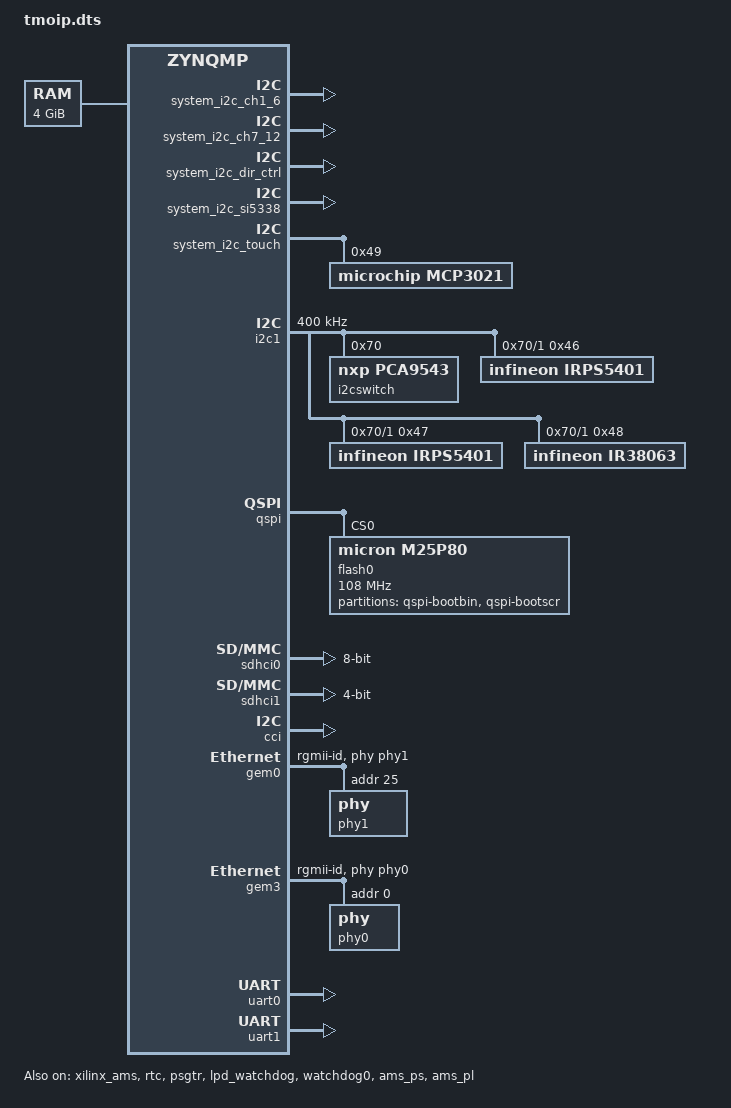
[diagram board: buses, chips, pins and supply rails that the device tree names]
/dts-v1/;
#include "zynqmp.dtsi"
#include "zynqmp-clk-ccf.dtsi"
#include <dt-bindings/net/ti-dp83867.h>
    
/* From include/dt-bindings/clk/versaclock.h */
#define VC5_LVPECL   0
#define VC5_CMOS  1
#define VC5_HCSL33   2
#define VC5_LVDS  3
#define VC5_CMOS2 4
#define VC5_CMOSD 5
#define VC5_HCSL25   6

#define PLATFORM_TYPE_8_CHAN_3EG 0
#define PLATFORM_TYPE_TMOIP_3CH 1
#define PLATFORM_TYPE_TMOIP_12CH 2
#define PLATFORM_TYPE_AVNET_CC7EV 3
#define PLATFORM_TYPE_XILINX_ZCU102 4
#define PLATFORM_TYPE_TMOIP_MLSC 5
#define PLATFORM_TYPE_TMOIP_BSSA 6

/ {
	chosen {
		bootargs = "console=/dev/ttyPS0,115200 root=/dev/mmcblk1p2 rw earlyprintk earlycon clk_ignore_unused";
		stdout-path = "serial0:115200n8";
	};
	aliases {
		ethernet0 = &gem3;
		ethernet1 = &gem0;
		serial0 = &uart0;
		serial1 = &uart1;
	};
	memory {
		device_type = "memory";
		reg = <0x0 0x0 0x0 0x7ff00000>, <0x00000008 0x00000000 0x0 0x80000000>;
	};

   	reserved-memory {
        #address-cells = <2>;
        #size-cells = <2>;
		ranges;
	    framebuffer_mem: framebuffer@10000000 {
           no-map;
		   reg = <0x0 0x10000000 0x0 (1024*1024)>;
	   };
   	};
	amba_pl: amba_pl@0 {
		#address-cells = <2>;
		#size-cells = <2>;
		compatible = "simple-bus";
		ranges ;
    	misc_clk_0: misc_clk_0 {
	    	#clock-cells = <0>;
		    clock-frequency = <299997000>;
		    compatible = "fixed-clock";
	    };
        framebuffer0: framebuffer {
            compatible = "simple-framebuffer";
            memory-region = <&framebuffer_mem>;
	        width = <160>;
	        height = <128>;
	        stride = < (160 * 2) >;
	        //format = "a8b8g8r8";
	        format = "r5g6b5";
	    };
    		system_i2c_ch1_6: i2c@80410000 {
			#address-cells = <1>;
			#size-cells = <0>;
			clock-names = "s_axi_aclk";
			clocks = <&misc_clk_0>;
			compatible = "xlnx,axi-iic-2.1", "xlnx,xps-iic-2.00.a";
			interrupt-names = "iic2intc_irpt";
			interrupt-parent = <&gic>;
			interrupts = <0 109 4>;
			reg = <0x0 0x80410000 0x0 0x10000>;
		};
		system_i2c_ch7_12: i2c@80420000 {
			#address-cells = <1>;
			#size-cells = <0>;
			clock-names = "s_axi_aclk";
			clocks = <&misc_clk_0>;
			compatible = "xlnx,axi-iic-2.1", "xlnx,xps-iic-2.00.a";
			interrupt-names = "iic2intc_irpt";
			interrupt-parent = <&gic>;
			interrupts = <0 110 4>;
			reg = <0x0 0x80420000 0x0 0x10000>;
		};
		system_i2c_dir_ctrl: i2c@80430000 {
			#address-cells = <1>;
			#size-cells = <0>;
			clock-names = "s_axi_aclk";
			clocks = <&misc_clk_0>;
			compatible = "xlnx,axi-iic-2.1", "xlnx,xps-iic-2.00.a";
			interrupt-names = "iic2intc_irpt";
			interrupt-parent = <&gic>;
			interrupts = <0 108 4>;
			reg = <0x0 0x80430000 0x0 0x10000>;
		};
		system_i2c_si5338: i2c@80440000 {
			#address-cells = <1>;
			#size-cells = <0>;
			clock-names = "s_axi_aclk";
			clocks = <&misc_clk_0>;
			compatible = "xlnx,axi-iic-2.1", "xlnx,xps-iic-2.00.a";
			interrupt-names = "iic2intc_irpt";
			interrupt-parent = <&gic>;
			interrupts = <0 111 4>;
			reg = <0x0 0x80440000 0x0 0x10000>;
		};
		system_i2c_touch: i2c@802B0000 {
			#address-cells = <1>;
			#size-cells = <0>;
			clock-names = "s_axi_aclk";
			clocks = <&misc_clk_0>;
			compatible = "xlnx,axi-iic-2.1", "xlnx,xps-iic-2.00.a";
			interrupt-names = "iic2intc_irpt";
			interrupt-parent = <&gic>;
			interrupts = <0 106 4>;
			reg = <0x0 0x802B0000 0x0 0x10000>;
			mcp3021@49 {
				compatible = "microchip,mcp3021";
				reg = <0x49>;
				reference-voltage-microvolt = <3300000>; /* 3.3 V */
		        };
			
		};

	};
};

&amba_pl {
	tmoip_system: tmoip_system@800D0000 {
	   compatible = "tmoip_system-1.0";
       reg = <0x0 0x800D0000 0x0 0x10000 0x0 0xa0100000 0x0 0x10000>;
       num_channels = <12>;
       platform_type = <PLATFORM_TYPE_TMOIP_12CH>;
    };

    ch0: channel@80000000 {
	     compatible = "channel-1.0";
             clock-names = "axi_lite_aclk";
	     clocks = <&misc_clk_0>, <&misc_clk_0>;
	     reg = <0x0 0x80000000 0x0 0x10000>,
                 <0x0 0x80010000 0x0 0x10000>,
                 <0x0 0x80080000 0x0 0x10000>;
             reg-names = "channel_in", "channel_out", "pcmif";      
 	     channel_number = <0>;
	     refclk_hz = <300000000>;
    };
    bitsync0: bit_sync@802e0000 {
	      compatible = "bit_sync-1.0";
	      clock-names = "axi_lite_aclk";
	      clocks = <&misc_clk_0>, <&misc_clk_0>;
	      reg = <0x0 0x802e0000 0x0 0x10000>;
	      kp_base_msw = <0x00800000>;
              kp_base_lsw = <0x00000000>;
              ki_base_msw = <0x00030000>;
              ki_base_lsw = <0x00000000>;
 	      channel_number = <0>;
 	      perr_thresh = <1500000000>;
	      refclk_hz = <300000000>;
    };
    ch1: channel@80020000 {
	      compatible = "channel-1.0";
	      clock-names = "axi_lite_aclk";
	      clocks = <&misc_clk_0>, <&misc_clk_0>;
	      reg = <0x0 0x80020000 0x0 0x10000>,
                  <0x0 0x80030000 0x0 0x10000>,
                  <0x0 0x800E0000 0x0 0x10000>;
              reg-names = "channel_in", "channel_out", "pcmif";     
 	      channel_number = <1>;
	      refclk_hz = <300000000>;
    };
    bitsync1: bit_sync@80300000 {
	      compatible = "bit_sync-1.0";
	      clock-names = "axi_lite_aclk";
	      clocks = <&misc_clk_0>, <&misc_clk_0>;
	      reg = <0x0 0x80300000 0x0 0x10000>;
	      kp_base_msw = <0x00800000>;
              kp_base_lsw = <0x00000000>;
              ki_base_msw = <0x00030000>;
              ki_base_lsw = <0x00000000>;
 	      channel_number = <1>;
 	      perr_thresh = <1500000000>;
	      refclk_hz = <300000000>;
    };
    ch2: channel@80040000 {
              compatible = "channel-1.0";
	      clock-names = "axi_lite_aclk";
	      clocks = <&misc_clk_0>, <&misc_clk_0>;
	      reg = <0x0 0x80040000 0x0 0x10000>,
                <0x0 0x80050000 0x0 0x10000>,
                <0x0 0x800F0000 0x0 0x10000>;
              reg-names = "channel_in", "channel_out", "pcmif";    
 	      channel_number = <2>;
	      refclk_hz = <300000000>;
    };
    bitsync2: bit_sync@80310000 {
	      compatible = "bit_sync-1.0";
	      clock-names = "axi_lite_aclk";
	      clocks = <&misc_clk_0>, <&misc_clk_0>;
	      reg = <0x0 0x80310000 0x0 0x10000>;
	      kp_base_msw = <0x00800000>;
              kp_base_lsw = <0x00000000>;
              ki_base_msw = <0x00030000>;
              ki_base_lsw = <0x00000000>;
 	      channel_number = <2>;
 	      perr_thresh = <1500000000>;
	      refclk_hz = <300000000>;
    };
    ch3: channel@80090000 {
	      compatible = "channel-1.0";
	      clock-names = "axi_lite_aclk";
	      clocks = <&misc_clk_0>, <&misc_clk_0>;
	      reg = <0x0 0x80090000 0x0 0x10000>,
                <0x0 0x800a0000 0x0 0x10000>,
                <0x0 0x800b0000 0x0 0x10000>;
              reg-names = "channel_in", "channel_out", "pcmif";   
 	      channel_number = <3>;
	      refclk_hz = <300000000>;
    };
	bitsync3: bit_sync@80320000 {
	      compatible = "bit_sync-1.0";
	      clock-names = "axi_lite_aclk";
	      clocks = <&misc_clk_0>, <&misc_clk_0>;
	      reg = <0x0 0x80320000 0x0 0x10000>;
	      kp_base_msw = <0x00800000>;
              kp_base_lsw = <0x00000000>;
              ki_base_msw = <0x00030000>;
              ki_base_lsw = <0x00000000>;
 	      channel_number = <3>;
 	      perr_thresh = <1500000000>;
	      refclk_hz = <300000000>;
    };
    ch4: channel@800c0000 {
	      compatible = "channel-1.0";
	      clock-names = "axi_lite_aclk";
	      clocks = <&misc_clk_0>, <&misc_clk_0>;
	      reg = <0x0 0x800c0000 0x0 0x10000>,
                <0x0 0x802a0000 0x0 0x10000>,
                <0x0 0x80100000 0x0 0x10000>;
              reg-names = "channel_in", "channel_out", "pcmif";
	      channel_number = <4>;
	      refclk_hz = <300000000>;
    };
    bitsync4: bit_sync@80330000 {
	      compatible = "bit_sync-1.0";
	      clock-names = "axi_lite_aclk";
	      clocks = <&misc_clk_0>, <&misc_clk_0>;
	      reg = <0x0 0x80330000 0x0 0x10000>;
	      kp_base_msw = <0x00800000>;
              kp_base_lsw = <0x00000000>;
              ki_base_msw = <0x00030000>;
              ki_base_lsw = <0x00000000>;
 	      channel_number = <4>;
 	      perr_thresh = <1500000000>;
	      refclk_hz = <300000000>;
    };
    ch5: channel@80110000 {
	      compatible = "channel-1.0";
	      clock-names = "axi_lite_aclk";
	      clocks = <&misc_clk_0>, <&misc_clk_0>;
	      reg = <0x0 0x80110000 0x0 0x10000>,
                <0x0 0x80120000 0x0 0x10000>,
                <0x0 0x80130000 0x0 0x10000>;
              reg-names = "channel_in", "channel_out", "pcmif";   
 	      channel_number = <5>;
	      refclk_hz = <300000000>;
    };
    bitsync5: bit_sync@80340000 {
	      compatible = "bit_sync-1.0";
	      clock-names = "axi_lite_aclk";
	      clocks = <&misc_clk_0>, <&misc_clk_0>;
	      reg = <0x0 0x80340000 0x0 0x10000>;
	      kp_base_msw = <0x00800000>;
              kp_base_lsw = <0x00000000>;
              ki_base_msw = <0x00030000>;
              ki_base_lsw = <0x00000000>;
 	      channel_number = <5>;
 	      perr_thresh = <1500000000>;
	      refclk_hz = <300000000>;
    };
    ch6: channel@80140000 {
	      compatible = "channel-1.0";
	      clock-names = "axi_lite_aclk";
	      clocks = <&misc_clk_0>, <&misc_clk_0>;
	      reg = <0x0 0x80140000 0x0 0x10000>,
                <0x0 0x80150000 0x0 0x10000>,
                <0x0 0x80160000 0x0 0x10000>;
              reg-names = "channel_in", "channel_out", "pcmif";  
 	      channel_number = <6>;
	      refclk_hz = <300000000>;
    };
    bitsync6: bit_sync@80350000 {
	      compatible = "bit_sync-1.0";
	      clock-names = "axi_lite_aclk";
	      clocks = <&misc_clk_0>, <&misc_clk_0>;
	      reg = <0x0 0x80350000 0x0 0x10000>;
	      kp_base_msw = <0x00800000>;
              kp_base_lsw = <0x00000000>;
              ki_base_msw = <0x00030000>;
              ki_base_lsw = <0x00000000>;
 	      channel_number = <6>;
 	      perr_thresh = <1500000000>;
	      refclk_hz = <300000000>;
    };
    ch7: channel@80170000 {
	      compatible = "channel-1.0";
	      clock-names = "axi_lite_aclk";
	      clocks = <&misc_clk_0>, <&misc_clk_0>;
	      reg = <0x0 0x80170000 0x0 0x10000>,
                <0x0 0x80180000 0x0 0x10000>,
                <0x0 0x80190000 0x0 0x10000>;
              reg-names = "channel_in", "channel_out", "pcmif"; 
 	      channel_number = <7>;
	      refclk_hz = <300000000>;
    };
    bitsync7: bit_sync@80360000 {
	      compatible = "bit_sync-1.0";
	      clock-names = "axi_lite_aclk";
	      clocks = <&misc_clk_0>, <&misc_clk_0>;
	      reg = <0x0 0x80360000 0x0 0x10000>;
	      kp_base_msw = <0x00800000>;
              kp_base_lsw = <0x00000000>;
              ki_base_msw = <0x00030000>;
              ki_base_lsw = <0x00000000>;
 	      channel_number = <7>;
 	      perr_thresh = <1500000000>;
	      refclk_hz = <300000000>;
    };
    ch8: channel@80220000 {
	      compatible = "channel-1.0";
	      clock-names = "axi_lite_aclk";
	      clocks = <&misc_clk_0>, <&misc_clk_0>;
	      reg = <0x0 0x80220000 0x0 0x10000>,
                <0x0 0x80230000 0x0 0x10000>,
                <0x0 0x80240000 0x0 0x10000>;
              reg-names = "channel_in", "channel_out", "pcmif";   
 	      channel_number = <8>;
	      refclk_hz = <300000000>;
    };
    bitsync8: bit_sync@80390000 {
	      compatible = "bit_sync-1.0";
	      clock-names = "axi_lite_aclk";
	      clocks = <&misc_clk_0>, <&misc_clk_0>;
	      reg = <0x0 0x80390000 0x0 0x10000>;
	      kp_base_msw = <0x00800000>;
              kp_base_lsw = <0x00000000>;
              ki_base_msw = <0x00030000>;
              ki_base_lsw = <0x00000000>;
 	      channel_number = <8>;
 	      perr_thresh = <1500000000>;
	      refclk_hz = <300000000>;
    };
    ch9: channel@80250000 {
	      compatible = "channel-1.0";
	      clock-names = "axi_lite_aclk";
	      clocks = <&misc_clk_0>, <&misc_clk_0>;
	      reg = <0x0 0x80250000 0x0 0x10000>,
                <0x0 0x80260000 0x0 0x10000>,
                <0x0 0x80270000 0x0 0x10000>;
              reg-names = "channel_in", "channel_out", "pcmif";    
 	      channel_number = <9>;
	      refclk_hz = <300000000>;
    };
    bitsync9: bit_sync@803A0000 {
	      compatible = "bit_sync-1.0";
	      clock-names = "axi_lite_aclk";
	      clocks = <&misc_clk_0>, <&misc_clk_0>;
	      reg = <0x0 0x803A0000 0x0 0x10000>;
	      kp_base_msw = <0x00800000>;
              kp_base_lsw = <0x00000000>;
              ki_base_msw = <0x00030000>;
              ki_base_lsw = <0x00000000>;
 	      channel_number = <9>;
 	      perr_thresh = <1500000000>;
	      refclk_hz = <300000000>;
    };
    ch10: channel@801c0000 {
	      compatible = "channel-1.0";
	      clock-names = "axi_lite_aclk";
	      clocks = <&misc_clk_0>, <&misc_clk_0>;
	      reg = <0x0 0x801c0000 0x0 0x10000>,
                <0x0 0x801d0000 0x0 0x10000>,
                <0x0 0x801e0000 0x0 0x10000>;
              reg-names = "channel_in", "channel_out", "pcmif";   
 	      channel_number = <10>;
	      refclk_hz = <300000000>;
    };
    bitsync10: bit_sync@80370000 {
	      compatible = "bit_sync-1.0";
	      clock-names = "axi_lite_aclk";
	      clocks = <&misc_clk_0>, <&misc_clk_0>;
	      reg = <0x0 0x80370000 0x0 0x10000>;
	      kp_base_msw = <0x00800000>;
              kp_base_lsw = <0x00000000>;
              ki_base_msw = <0x00030000>;
              ki_base_lsw = <0x00000000>;
 	      channel_number = <10>;
 	      perr_thresh = <1500000000>;
	      refclk_hz = <300000000>;
    };
    ch11: channel@801f0000 {
	      compatible = "channel-1.0";
	      clock-names = "axi_lite_aclk";
	      clocks = <&misc_clk_0>, <&misc_clk_0>;
	      reg = <0x0 0x801f0000 0x0 0x10000>,
                <0x0 0x80200000 0x0 0x10000>,
                <0x0 0x80210000 0x0 0x10000>;
              reg-names = "channel_in", "channel_out", "pcmif"; 
 	      channel_number = <11>;
	      refclk_hz = <300000000>;
    };
    bitsync11: bit_sync@80380000 {
	      compatible = "bit_sync-1.0";
	      clock-names = "axi_lite_aclk";
	      clocks = <&misc_clk_0>, <&misc_clk_0>;
	      reg = <0x0 0x80380000 0x0 0x10000>;
	      kp_base_msw = <0x00800000>;
              kp_base_lsw = <0x00000000>;
              ki_base_msw = <0x00030000>;
              ki_base_lsw = <0x00000000>;
 	      channel_number = <11>;
 	      perr_thresh = <1500000000>;
	      refclk_hz = <300000000>;
    };
};

&gpio {
	status = "okay";
};

&i2c1 {
   i2cswitch@70 { /* U7 on UZ3EG SOM, U8 on UZ7EV SOM */
      compatible = "nxp,pca9543";
      #address-cells = <1>;
      #size-cells = <0>;
      reg = <0x70>;
      i2c@0 { /* i2c mw 70 0 1 */
         #address-cells = <1>;
         #size-cells = <0>;
         reg = <0>;
      };

      i2c@1 {
         #address-cells = <0x1>;
         #size-cells = <0x0>;
         reg = <0x1>;

         irps5401@46 { /* IRPS5401 - U24 on UZ7EV SOM*/
            compatible = "infineon,irps5401";
            reg = <0x46>;
         };

         irps5401@47 { /* IRPS5401 - U25 on UZ7EV SOM*/
            compatible = "infineon,irps5401";
            reg = <0x47>;
         };

         ir38063@48 { /* IR38063 - U26 on UZ7EV SOM*/
            compatible = "infineon,ir38063";
            reg = <0x48>;
         };
      };
   };
};

&qspi {
   #address-cells = <1>;
   #size-cells = <0>;
   status = "okay";
   is-dual = <1>; /* Set for dual-parallel QSPI config */
   num-cs = <2>;
   xlnx,fb-clk = <0x1>;
   flash0: flash@0 {
      /* The Flash described below doesn't match our board ("micron,n25qu256a"), but is needed */
      /* so the Flash MTD partitions are correctly identified in /proc/mtd */
      compatible = "micron,m25p80","jedec,spi-nor"; /* 32MB */
      #address-cells = <1>;
      #size-cells = <1>;
      reg = <0x0>;
      spi-tx-bus-width = <1>;
      spi-rx-bus-width = <4>; /* FIXME also DUAL configuration possible */
      spi-max-frequency = <108000000>; /* Set to 108000000 Based on DC1 spec */
      /* MTD Partitioning:
       *   Boot.bin needs at least 20MB
       *   boot.scr must go at 0x3E80000
       */
      partition@qspi-bootbin {
	      label = "qspi-bootbin";
	      reg = <0x0 0x2000000>;
      };
      partition@qspi-bootscr {
	      label = "qspi-bootscr";
	      reg = <0x3E80000 0x80000>;
      };
   };
};

&sdhci0 {
	status = "okay";
	xlnx,mio_bank = <0x0>;
 	bus-width = <8>;
	max-frequency = <50000000>;
};
&sdhci1 {
	max-frequency = <50000000>;
	status = "okay";
	disable-wp;
	no-1-8-v;
	bus-width = <4>;
	xlnx,mio_bank = <0x1>;
};

&lpd_dma_chan1 {
	status = "okay";
};
&lpd_dma_chan2 {
	status = "okay";
};
&lpd_dma_chan3 {
	status = "okay";
};
&lpd_dma_chan4 {
	status = "okay";
};
&lpd_dma_chan5 {
	status = "okay";
};
&lpd_dma_chan6 {
	status = "okay";
};
&lpd_dma_chan7 {
	status = "okay";
};
&lpd_dma_chan8 {
	status = "okay";
};
&xilinx_ams {
	status = "okay";
};
&cci {
	status = "okay";
};
&fpd_dma_chan1 {
	status = "okay";
};
&fpd_dma_chan2 {
	status = "okay";
};
&fpd_dma_chan3 {
	status = "okay";
};
&fpd_dma_chan4 {
	status = "okay";
};
&fpd_dma_chan5 {
	status = "okay";
};
&fpd_dma_chan6 {
	status = "okay";
};
&fpd_dma_chan7 {
	status = "okay";
};
&fpd_dma_chan8 {
	status = "okay";
};

&gem0 {
	status = "okay";
	local-mac-address = [00 0a 35 00 02 90];
	phy-mode = "rgmii-id";
	xlnx,ptp-enet-clock = <0x0>;
	#address-cells = <1>;
	#size-cells = <0>;
	phy-handle = <&phy1>;
	phy1: phy@19 {
		reg = <0x19>;
		ti,rx-internal-delay = <DP83867_RGMIIDCTL_2_00_NS>;
		ti,tx-internal-delay = <DP83867_RGMIIDCTL_2_00_NS>;
		ti,fifo-depth = <0x1>;
	};
};

&gem3 {
	phy-mode = "rgmii-id";
	status = "okay";
	xlnx,ptp-enet-clock = <0x0>;
	local-mac-address = [00 0a 35 00 02 91];
	phy-mode = "rgmii-id";
	#address-cells = <1>;
	#size-cells = <0>;
	phy-handle = <&phy0>;
	phy0: phy@0 {
		reg = <0x0>;
		ti,rx-internal-delay = <0x5>;
		ti,tx-internal-delay = <0x5>;
		ti,fifo-depth = <0x1>;
	};
};

&i2c1 {
	clock-frequency = <400000>;
	status = "okay";
};
&qspi {
	is-dual = <1>;
	num-cs = <1>;
	spi-rx-bus-width = <4>;
	spi-tx-bus-width = <4>;
	status = "okay";
};
&rtc {
	status = "okay";
};
&psgtr {
	status = "okay";
};
&uart0 {
	cts-override ;
	device_type = "serial";
	port-number = <0>;
	status = "okay";
	u-boot,dm-pre-reloc ;
};
&uart1 {
	cts-override ;
	device_type = "serial";
	port-number = <1>;
	status = "okay";
	u-boot,dm-pre-reloc ;
};
&lpd_watchdog {
	status = "okay";
};
&watchdog0 {
	status = "okay";
};
&ams_ps {
	status = "okay";
};
&ams_pl {
	status = "okay";
};
    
